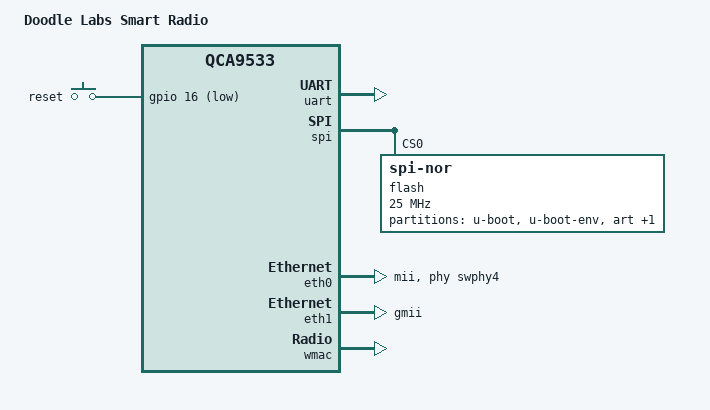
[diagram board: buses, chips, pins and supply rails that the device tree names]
// SPDX-License-Identifier: GPL-2.0-or-later
/dts-v1/;

#include "qca953x.dtsi"

#include <dt-bindings/gpio/gpio.h>
#include <dt-bindings/input/input.h>

/*
 * Doodle Labs Smart Radio (QCA9533 / AR9531 integrated 2.4 GHz radio)
 *
 * Reconstructed from the running stock unit (no DTB existed: legacy ar71xx
 * board-file). Facts captured live:
 *   SoC      : Qualcomm Atheros QCA9533 ver2 rev0, CPU 650 / DDR 597 / AHB 216 MHz
 *   RAM      : 64 MiB
 *   Flash    : Winbond w25q256, 32 MiB, SPI-NOR @ spi0.0
 *   WMAC     : AR9531 rev2, cal + MACs in "art" @ 0x80000
 *   eth0     : GMAC0 -> external PHY on MDIO (MII, seen 100M/full)
 *   eth1     : GMAC1 -> AR934x built-in 5-port switch (GMII)
 *   button   : BTN_1 on GPIO16 (firstboot/reset)
 *   u-boot   : bootcmd = "bootm 0x9f0c0000"  => kernel at flash offset 0xc0000
 *
 * ponytail: GPIO4 and GPIO15 are exported by stock f/w but their role is
 * unverified (likely RF front-end band-select for the frequency-shifted
 * variants). Left UNCONFIGURED on purpose - driving an unknown RF control
 * line could mis-set the front end. Add led/gpio nodes only after probing.
 */

/ {
	model = "Doodle Labs Smart Radio";
	compatible = "doodlelabs,smartradio", "qca,qca9533";

	aliases {
		serial0 = &uart;
		label-mac-device = &eth0;
	};

	keys {
		compatible = "gpio-keys";
		reset {
			label = "reset";
			linux,code = <KEY_RESTART>;
			/* GPIO_ACTIVE_LOW confirmed from 2025-06.5 firmware hotplug.d/button */
			gpios = <&gpio 16 GPIO_ACTIVE_LOW>;
			debounce-interval = <60>;
		};
	};
};

&uart {
	status = "okay";
};

&spi {
	status = "okay";

	flash@0 {
		compatible = "jedec,spi-nor";
		reg = <0>;
		spi-max-frequency = <25000000>;

		partitions {
			compatible = "fixed-partitions";
			#address-cells = <1>;
			#size-cells = <1>;

			/* Offsets MUST match stock u-boot (bootm 0x9f0c0000). */
			partition@0 {
				label = "u-boot";
				reg = <0x000000 0x040000>;
				read-only;
			};

			partition@40000 {
				label = "u-boot-env";
				reg = <0x040000 0x040000>;
			};

			art: partition@80000 {
				label = "art";
				reg = <0x080000 0x040000>;
				read-only;

				nvmem-layout {
					compatible = "fixed-layout";
					#address-cells = <1>;
					#size-cells = <1>;

					macaddr_art_0: macaddr@0 {
						reg = <0x0 0x6>;
					};

					cal_art_1000: calibration@1000 {
						reg = <0x1000 0x440>;
					};
				};
			};

			partition@c0000 {
				compatible = "denx,uimage";
				label = "firmware";
				reg = <0x0c0000 0x1f40000>;
			};
		};
	};
};

&eth0 {
	status = "okay";
	phy-mode = "mii";
	/* swphy4 = AR8229 CPU/uplink port (matches TP-Link WR841N v11, GL-AR150) */
	phy-handle = <&swphy4>;

	nvmem-cells = <&macaddr_art_0>;
	nvmem-cell-names = "mac-address";
};

&eth1 {
	status = "okay";
	phy-mode = "gmii";

	nvmem-cells = <&macaddr_art_0>;
	nvmem-cell-names = "mac-address";
	mac-address-increment = <1>;
};

&wmac {
	status = "okay";

	nvmem-cells = <&cal_art_1000>, <&macaddr_art_0>;
	nvmem-cell-names = "calibration", "mac-address";
};
